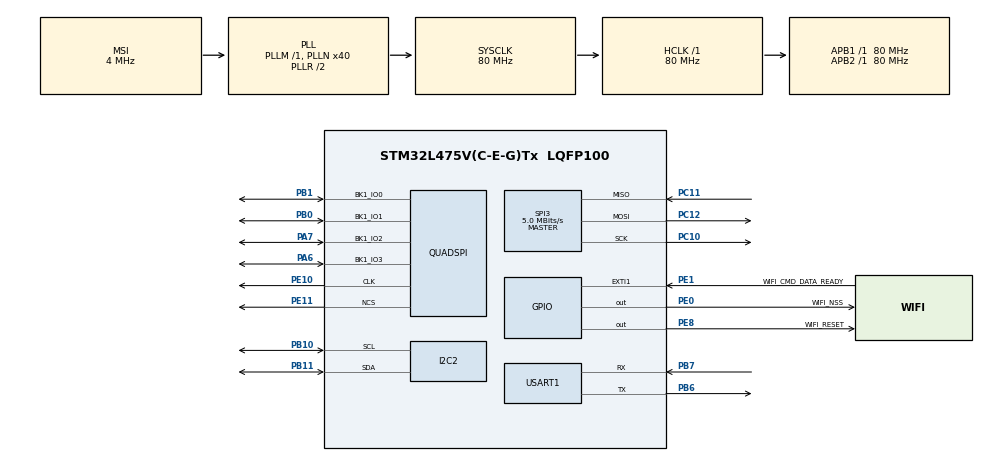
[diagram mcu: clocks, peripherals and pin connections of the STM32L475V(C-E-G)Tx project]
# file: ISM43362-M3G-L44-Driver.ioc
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FREERTOS.Tasks01=Temperature,24,128,ReadTemperature,Default,NULL,Dynamic,NULL,NULL;Humidity,24,128,ReadHumidity,Default,NULL,Dynamic,NULL,NULL;Pressure,24,128,ReadPressure,Default,NULL,Dynamic,NULL,NULL
FREERTOS.configUSE_NEWLIB_REENTRANT=1
I2C2.Timing=0x10909CEC
Mcu.Family=STM32L4
Mcu.Name=STM32L475V(C-E-G)Tx
Mcu.Package=LQFP100
NVIC.EXTI1_IRQn=true\:5\:0\:false\:false\:true\:true\:true\:true\:true
NVIC.PriorityGroup=NVIC_PRIORITYGROUP_4
NVIC.QUADSPI_IRQn=true\:5\:0\:false\:false\:true\:true\:true\:true\:true
NVIC.TIM6_DAC_IRQn=true\:0\:0\:false\:false\:true\:false\:false\:true\:true
NVIC.TimeBase=TIM6_DAC_IRQn
NVIC.TimeBaseIP=TIM6
PA6.Mode=Single Bank
PA6.Signal=QUADSPI_BK1_IO3
PA7.Mode=Single Bank
PA7.Signal=QUADSPI_BK1_IO2
PB0.Mode=Single Bank
PB0.Signal=QUADSPI_BK1_IO1
PB1.Mode=Single Bank
PB1.Signal=QUADSPI_BK1_IO0
PB10.Mode=I2C
PB10.Signal=I2C2_SCL
PB11.Mode=I2C
PB11.Signal=I2C2_SDA
PB6.Mode=Asynchronous
PB6.Signal=USART1_TX
PB7.Mode=Asynchronous
PB7.Signal=USART1_RX
PC10.Mode=Full_Duplex_Master
PC10.Signal=SPI3_SCK
PC11.Mode=Full_Duplex_Master
PC11.Signal=SPI3_MISO
PC12.Mode=Full_Duplex_Master
PC12.Signal=SPI3_MOSI
PE0.GPIO_Label=WIFI_NSS
PE0.Signal=GPIO_Output
PE1.GPIO_Label=WIFI_CMD_DATA_READY
PE1.GPIO_ModeDefaultEXTI=GPIO_MODE_IT_RISING_FALLING
PE1.Signal=GPXTI1
PE10.Mode=Single Bank
PE10.Signal=QUADSPI_CLK
PE11.Mode=Single Bank
PE11.Signal=QUADSPI_NCS
PE8.GPIO_Label=WIFI_RESET
PE8.Signal=GPIO_Output
ProjectManager.HeapSize=0x200
ProjectManager.StackSize=0x400
ProjectManager.TargetToolchain=STM32CubeIDE
RCC.ADCFreq_Value=48000000
RCC.AHBFreq_Value=80000000
RCC.APB1Freq_Value=80000000
RCC.APB1TimFreq_Value=80000000
RCC.APB2Freq_Value=80000000
RCC.APB2TimFreq_Value=80000000
RCC.CortexFreq_Value=80000000
RCC.HCLKFreq_Value=80000000
RCC.HSE_VALUE=8000000
RCC.HSI_VALUE=16000000
RCC.LSE_VALUE=32768
RCC.MSI_VALUE=4000000
RCC.PLLN=40
RCC.PLLSAI1N=24
RCC.SYSCLKFreq_VALUE=80000000
RCC.SYSCLKSource=RCC_SYSCLKSOURCE_PLLCLK
RCC.USBFreq_Value=48000000
RCC.VCOOutputFreq_Value=160000000
SPI3.BaudRatePrescaler=SPI_BAUDRATEPRESCALER_16
SPI3.CalculateBaudRate=5.0 MBits/s
SPI3.DataSize=SPI_DATASIZE_16BIT
SPI3.Direction=SPI_DIRECTION_2LINES
SPI3.Mode=SPI_MODE_MASTER
SPI3.VirtualType=VM_MASTER
USART1.VirtualMode-Asynchronous=VM_ASYNC
VP_FREERTOS_VS_CMSIS_V2.Mode=CMSIS_V2
VP_SYS_VS_tim6.Mode=TIM6
board=B-L475E-IOT01A1

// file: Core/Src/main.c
/* USER CODE BEGIN Header */
/**
 ******************************************************************************
 * @file           : main.c
 * @brief          : Main program body
 ******************************************************************************
 * @attention
 *
 * <h2><center>&copy; Copyright (c) 2020 STMicroelectronics.
 * All rights reserved.</center></h2>
 *
 * This software component is licensed by ST under BSD 3-Clause license,
 * the "License"; You may not use this file except in compliance with the
 * License. You may obtain a copy of the License at:
 *                        opensource.org/licenses/BSD-3-Clause
 *
 ******************************************************************************
 */
/* USER CODE END Header */

#include "main.h"
#include "cmsis_os2.h"
#include "i2c.h"
#include "quadspi.h"
#include "spi.h"
#include "usart.h"
#include "FreeRTOS.h"
#include "gpio.h"

/* USER CODE BEGIN Includes */
#include <math.h>
#include <stdio.h>
#include <stdbool.h>
#include <stdlib.h>

#include "stm32l4xx.h"
#include "stm32l475e_iot01_tsensor.h"
#include "stm32l475e_iot01_hsensor.h"
#include "stm32l475e_iot01_psensor.h"
#include "stm32l475e_iot01.h"
#include "wifi.h"
/* USER CODE END Includes */

/* USER CODE BEGIN PD */

#define TX_BUFFER_SIZE 1024
#define RX_BUFFER_SIZE 1024
#define TX_TIMEOUT 2000
#define RX_TIMEOUT 2000

#define JSON_DATA_TEMPL "{\"temperature\": %s, \"humidity\": %s, \"pressure\": %s}"
/* USER CODE END PD */

/* USER CODE BEGIN PV */
WIFI_HandleTypeDef hwifi;
__IO FlagStatus cmdDataReady = 0;
volatile bool wifi_initialized = false;

extern osMutexId_t spi_mutex_id;
extern osMessageQueueId_t msgQueue_id;
extern osSemaphoreId_t wifi_init_done_sem;
extern osSemaphoreId_t wifi_data_ready_sem;
/* USER CODE END PV */

void SystemClock_Config(void);
void MX_FREERTOS_Init(void);

int main(void) {

	/* MCU Configuration--------------------------------------------------------*/

	/* Reset of all peripherals, Initializes the Flash interface and the Systick. */
	HAL_Init();

	/* Configure the system clock */
	SystemClock_Config();

	/* Initialize all configured peripherals */
	MX_GPIO_Init();
	MX_SPI3_Init();
	MX_USART1_UART_Init();
	MX_QUADSPI_Init();
	MX_I2C2_Init();

	/* Init scheduler */
	osKernelInitialize();

	MX_FREERTOS_Init();

	/* Start scheduler */
	osKernelStart();

	/* We should never get here as control is now taken by the scheduler */
	/* Infinite loop */
	while (1) {

	}
}

void SystemClock_Config(void) {
	RCC_OscInitTypeDef RCC_OscInitStruct = { 0 };
	RCC_ClkInitTypeDef RCC_ClkInitStruct = { 0 };
	RCC_PeriphCLKInitTypeDef PeriphClkInit = { 0 };

	/** Initializes the CPU, AHB and APB busses clocks
	 */
	RCC_OscInitStruct.OscillatorType = RCC_OSCILLATORTYPE_MSI;
	RCC_OscInitStruct.MSIState = RCC_MSI_ON;
	RCC_OscInitStruct.MSICalibrationValue = 0;
	RCC_OscInitStruct.MSIClockRange = RCC_MSIRANGE_6;
	RCC_OscInitStruct.PLL.PLLState = RCC_PLL_ON;
	RCC_OscInitStruct.PLL.PLLSource = RCC_PLLSOURCE_MSI;
	RCC_OscInitStruct.PLL.PLLM = 1;
	RCC_OscInitStruct.PLL.PLLN = 40;
	RCC_OscInitStruct.PLL.PLLP = RCC_PLLP_DIV7;
	RCC_OscInitStruct.PLL.PLLQ = RCC_PLLQ_DIV2;
	RCC_OscInitStruct.PLL.PLLR = RCC_PLLR_DIV2;
	if (HAL_RCC_OscConfig(&RCC_OscInitStruct) != HAL_OK) {
		Error_Handler();
	}
	/** Initializes the CPU, AHB and APB busses clocks
	 */
	RCC_ClkInitStruct.ClockType = RCC_CLOCKTYPE_HCLK | RCC_CLOCKTYPE_SYSCLK
			| RCC_CLOCKTYPE_PCLK1 | RCC_CLOCKTYPE_PCLK2;
	RCC_ClkInitStruct.SYSCLKSource = RCC_SYSCLKSOURCE_PLLCLK;
	RCC_ClkInitStruct.AHBCLKDivider = RCC_SYSCLK_DIV1;
	RCC_ClkInitStruct.APB1CLKDivider = RCC_HCLK_DIV1;
	RCC_ClkInitStruct.APB2CLKDivider = RCC_HCLK_DIV1;

	if (HAL_RCC_ClockConfig(&RCC_ClkInitStruct, FLASH_LATENCY_4) != HAL_OK) {
		Error_Handler();
	}
	PeriphClkInit.PeriphClockSelection = RCC_PERIPHCLK_USART1
			| RCC_PERIPHCLK_I2C2;
	PeriphClkInit.Usart1ClockSelection = RCC_USART1CLKSOURCE_PCLK2;
	PeriphClkInit.I2c2ClockSelection = RCC_I2C2CLKSOURCE_PCLK1;
	if (HAL_RCCEx_PeriphCLKConfig(&PeriphClkInit) != HAL_OK) {
		Error_Handler();
	}
	/** Configure the main internal regulator output voltage
	 */
	if (HAL_PWREx_ControlVoltageScaling(PWR_REGULATOR_VOLTAGE_SCALE1)
			!= HAL_OK) {
		Error_Handler();
	}
}

/* USER CODE BEGIN 4 */
static void WIFI_Init_main() {
	hwifi.handle = &hspi3;
	hwifi.ssid = SSID;
	hwifi.passphrase = PASSPHRASE;
	hwifi.securityType = WPA_MIXED + 1;
	hwifi.DHCP = SET;
	WIFI_Init(&hwifi);
	WIFI_JoinNetwork(&hwifi);

	printf("IP ADDRESS: %s\n", hwifi.ipAddress);

	sprintf(hwifi.mqtt.publishTopic, PUBLISH_TOPIC);
	hwifi.mqtt.securityMode = WIFI_MQTT_SECURITY_NONE;
	hwifi.mqtt.keepAlive = 3000;
	sprintf(hwifi.remoteIpAddress, MQTT_ADDRESS);
	hwifi.port = 1883;
	WIFI_StatusTypeDef status = WIFI_MQTTClientInit(&hwifi);
	printf("WIFI INIT DONE: %d\n", status);

	char buf[] = "WTF";
	WIFI_MQTTPublish(&hwifi, buf, sizeof(buf));
}

void HAL_GPIO_EXTI_Callback(uint16_t GPIO_Pin) {
        if (GPIO_Pin == WIFI_CMD_DATA_READY_Pin) {
                cmdDataReady = HAL_GPIO_ReadPin(WIFI_CMD_DATA_READY_GPIO_Port, WIFI_CMD_DATA_READY_Pin);
        }
}

void ReadTemperature(void *argument) {
	/* USER CODE BEGIN ReadTemperature */
	SensorData_t data;
	char temp_str[10];
	char humid_str[10];
	char pressure_str[10];
	char buf[256];

	for (;;) {
		float temp = BSP_TSENSOR_ReadTemp();
		float humid = BSP_HSENSOR_ReadHumidity();
		float pressure = BSP_PSENSOR_ReadPressure();
		data.temp = temp;
		data.humid = humid;
		data.pressure = pressure;

		int temp1 = data.temp;
		float tempFrac = data.temp - temp1;
		int temp2 = trunc(tempFrac * 100);
		snprintf(temp_str, sizeof(temp_str), "%d.%02d", temp1, temp2);
		int humid1 = data.humid;
		float humidFrac = data.humid - humid1;
		int humid2 = trunc(humidFrac * 100);
		snprintf(humid_str, sizeof(humid_str), "%d.%02d", humid1, humid2);
		int pressure1 = data.pressure;
		float pressureFrac = data.pressure - pressure1;
		int pressure2 = trunc(pressureFrac * 100);
		snprintf(pressure_str, sizeof(pressure_str), "%d.%02d", pressure1,
				pressure2);

		snprintf(buf, sizeof(buf), JSON_DATA_TEMPL, temp_str, humid_str, pressure_str);
		printf("Output: %s\n", buf);

		if (osMutexAcquire(spi_mutex_id, 1000) == osOK) {
			WIFI_MQTTPublish(&hwifi, buf, sizeof(buf));
			osMutexRelease(spi_mutex_id);
		}
		osDelay(10);
	}
	/* USER CODE END ReadTemperature */
}

void WifiInit(void *argument) {
        /* USER CODE BEGIN WifiInit */
	WIFI_Init_main();
	wifi_initialized = true;
	osSemaphoreRelease(wifi_init_done_sem);
	osThreadSuspend(osThreadGetId());

	while (1) {
		osDelay(osWaitForever);
	}
	/* USER CODE END WifiInit */
}

/* USER CODE END 4 */

void HAL_TIM_PeriodElapsedCallback(TIM_HandleTypeDef *htim) {
	if (htim->Instance == TIM6) {
		HAL_IncTick();
	}
}

void Error_Handler(void) {
}

/************************ (C) COPYRIGHT STMicroelectronics *****END OF FILE****/

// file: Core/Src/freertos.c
/* USER CODE BEGIN Header */
/**
 ******************************************************************************
 * File Name          : freertos.c
 * Description        : Code for freertos applications
 ******************************************************************************
 * @attention
 *
 * <h2><center>&copy; Copyright (c) 2025 STMicroelectronics.
 * All rights reserved.</center></h2>
 *
 * This software component is licensed by ST under Ultimate Liberty license
 * SLA0044, the "License"; You may not use this file except in compliance with
 * the License. You may obtain a copy of the License at:
 *                             www.st.com/SLA0044
 *
 ******************************************************************************
 */
/* USER CODE END Header */

#include "FreeRTOS.h"
#include "task.h"
#include "main.h"
#include "cmsis_os2.h"

/* USER CODE BEGIN Includes */
#include "stm32l475e_iot01_tsensor.h"
#include "stm32l475e_iot01_hsensor.h"
#include "stm32l475e_iot01_psensor.h"
#include "stm32l475e_iot01.h"
#include <stdio.h>
/* USER CODE END Includes */

/* USER CODE BEGIN Variables */
osThreadId_t WifiHandle;
const osThreadAttr_t Wifi_attrs = { .name = "Wifi", .priority =
		(osPriority_t) osPriorityHigh, .stack_size = 4048, };

osThreadId_t TemperatureHandle;
const osThreadAttr_t Temperature_attributes =
		{ .name = "Temperature", .priority =
				(osPriority_t) osPriorityNormal, .stack_size = 128 * 10 };

osMutexId_t spi_mutex_id;
osMessageQueueId_t msgQueue_id;
osSemaphoreId_t wifi_init_done_sem;
osSemaphoreId_t wifi_data_ready_sem;
/* USER CODE END Variables */

/* USER CODE BEGIN FunctionPrototypes */
void ReadTemperature(void *argument);
void WifiInit(void *argument);
/* USER CODE END FunctionPrototypes */

void MX_FREERTOS_Init(void); /* (MISRA C 2004 rule 8.1) */

void MX_FREERTOS_Init(void) {
	/* USER CODE BEGIN Init */
	BSP_TSENSOR_Init();
	BSP_HSENSOR_Init();
	BSP_PSENSOR_Init();
	/* USER CODE END Init */

	/* Create the thread(s) */
	TemperatureHandle = osThreadNew(ReadTemperature, NULL, &Temperature_attributes);
	WifiHandle = osThreadNew(WifiInit, NULL, &Wifi_attrs);

	msgQueue_id = osMessageQueueNew(SENSORDATA_OBJS, sizeof(SensorData_t), NULL);
	if (msgQueue_id == NULL) printf("FUCKUP\n");

	spi_mutex_id = osMutexNew(NULL);
	if (spi_mutex_id == NULL) printf("SPI mutex failed to create!!!\n");

	wifi_init_done_sem = osSemaphoreNew(1, 0, NULL);
	if (wifi_init_done_sem == NULL) printf("semaphore failed to create!!!\n");

	wifi_data_ready_sem = osSemaphoreNew(1, 0, NULL);
	if (wifi_data_ready_sem == NULL) printf("semaphore failed to create!!!\n");

	/* USER CODE END RTOS_THREADS */

}

/************************ (C) COPYRIGHT STMicroelectronics *****END OF FILE****/
